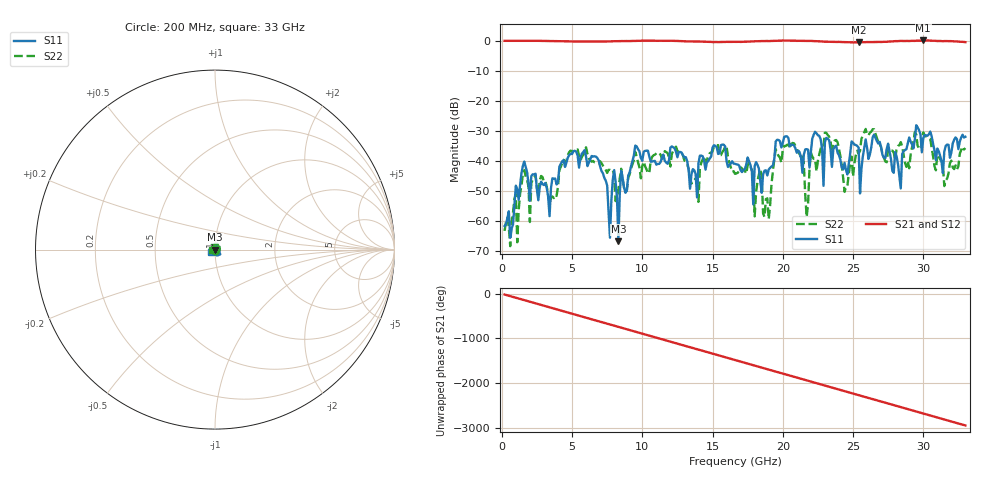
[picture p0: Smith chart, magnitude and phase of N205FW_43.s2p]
# GHZ S RI R 50
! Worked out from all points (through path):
!   329 points, 200 MHz to 33 GHz, reference 50 ohm
!   highest |S21| = 0.12 dB at 30 GHz (marker M1); lowest = -0.6 dB at 25.4 GHz (marker M2)
!   group delay of S21, straight-line fit = 248 ps
!   lowest |S11| = -66.7 dB at 8.3 GHz (marker M3), VSWR 1.00, Z = 50 + j0.00718 ohm
!   |S11| at or under -10 dB: start of sweep to end of sweep
!   |S22| runs from -68.4 to -29.4 dB; largest |S21 - S12| = 0.0022
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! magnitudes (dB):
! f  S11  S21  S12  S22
! 200 MHz  -61.7  0.0  0.0  -63.3
! 1 GHz  -48.2  0.0  0.0  -51.1
! 1.1 GHz  -49.4  0.0  0.0  -67.1
! 1.6 GHz  -40.2  0.0  0.0  -43.1
! 3.4 GHz  -58.4  -0.1  -0.1  -54.4
! 5.7 GHz  -37.6  -0.2  -0.2  -38.7
! 7.7 GHz  -65.6  -0.2  -0.2  -43.0
! 8 GHz  -43.1  -0.1  -0.1  -44.7
! 8.3 GHz  -66.7  -0.1  -0.1  -49.7
! 8.5 GHz  -43.3  -0.1  -0.1  -42.6
! 11.2 GHz  -41.0  0.0  0.0  -37.4
! 16.6 GHz  -41.0  -0.4  -0.4  -44.3
! 19 GHz  -42.9  -0.1  -0.1  -59.4
! 19.5 GHz  -33.5  0.0  0.0  -36.1
! 20.8 GHz  -34.9  0.1  0.1  -34.2
! 21.7 GHz  -36.1  0.0  0.0  -58.7
! 22.1 GHz  -32.6  -0.1  -0.1  -38.5
! 25.4 GHz  -35.6  -0.6  -0.6  -37.6
! 27.6 GHz  -36.9  -0.2  -0.2  -36.0
! 30 GHz  -32.4  0.1  0.1  -30.5
! 31.5 GHz  -36.8  -0.1  -0.1  -48.4
! 33 GHz  -32.0  -0.4  -0.4  -35.8
